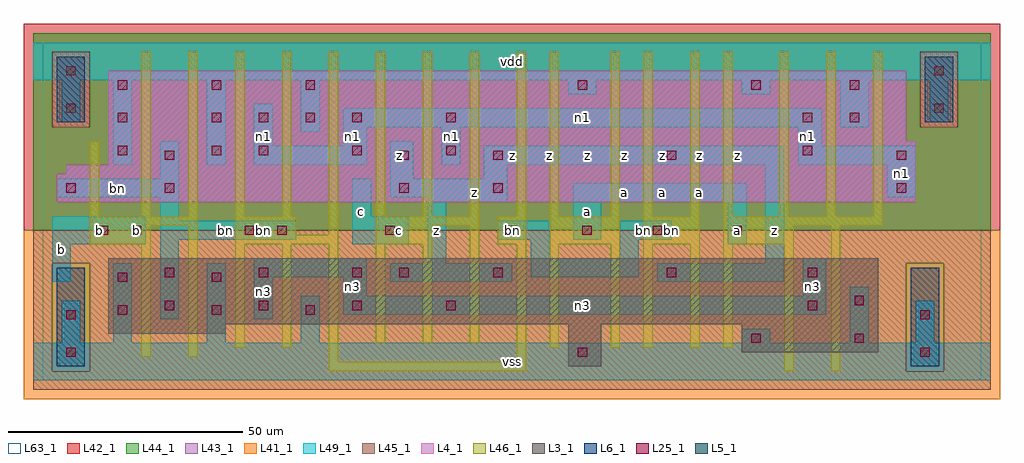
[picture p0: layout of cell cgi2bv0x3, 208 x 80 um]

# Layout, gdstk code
import gdstk
lib = gdstk.Library(unit=1e-6, precision=1e-09)
def R(c, l, rs):  # rectangles x0, y0, x1, y1
    for r in rs: c.add(gdstk.rectangle(r[:2], r[2:], *l))
def A(c, l, x, y, w, h, nx, ny, dx, dy):  # array of equal rectangles
    R(c, l, [(x+i*dx, y+j*dy, x+i*dx+w, y+j*dy+h) for i in range(nx) for j in range(ny)])
L3_1 = (3, 1)
L4_1 = (4, 1)
L5_1 = (5, 1)
L6_1 = (6, 1)
L25_1 = (25, 1)
L41_1 = (41, 1)
L42_1 = (42, 1)
L43_1 = (43, 1)
L44_1 = (44, 1)
L45_1 = (45, 1)
L46_1 = (46, 1)
L49_1 = (49, 1)
L63_1 = (63, 1)

cgi2bv0x3 = lib.new_cell('cgi2bv0x3')
R(cgi2bv0x3, L3_1, [(112,3,119,12), (149,6,178,12), (14,10,39,12), (14,12,178,26)])
R(cgi2bv0x3, L4_1, [(3,38,186,44), (5,44,186,46), (14,46,186,51), (14,51,184,66)])
R(cgi2bv0x3, L5_1, [(3,55,9,69), (188,55,194,69)])
R(cgi2bv0x3, L6_1, [(3,3,9,24), (3,3,9,24), (185,3,191,24), (185,3,191,24)])
A(cgi2bv0x3, L25_1, 16, 14, 2, 2, 3, 2, 20, 48)
A(cgi2bv0x3, L25_1, 26, 15, 2, 2, 4, 1, 20, 0)
A(cgi2bv0x3, L25_1, 26, 22, 2, 2, 3, 1, 20, 0)
A(cgi2bv0x3, L25_1, 46, 48, 2, 2, 3, 1, 20, 0)
A(cgi2bv0x3, L25_1, 36, 55, 2, 2, 4, 1, 10, 0)
R(cgi2bv0x3, L25_1, [(5,5,7,7), (114,5,116,7), (187,5,189,7), (151,8,153,10), (173,8,175,10), (5,13,7,15), (187,13,189,15), (163,15,165,17), (173,16,175,18), (16,21,18,23), (36,21,38,23), (76,22,78,24), (96,22,98,24), (133,22,135,24), (163,22,165,24), (12,31,14,33), (19,31,21,33), (43,31,45,33), (50,31,52,33), (73,31,75,33), (99,31,101,33), (115,31,117,33), (130,31,132,33), (147,31,149,33), (5,40,7,42), (26,40,28,42), (76,40,78,42), (96,40,98,42), (182,40,184,42), (26,47,28,49), (76,47,78,49), (96,47,98,49), (133,47,135,49), (182,47,184,49), (16,48,18,50), (36,48,38,50), (162,48,164,50), (16,55,18,57), (86,55,88,57), (162,55,164,57), (172,55,174,57), (5,57,7,59), (190,57,192,59), (114,62,116,64), (151,62,153,64), (172,62,174,64), (5,65,7,67), (190,65,192,67)])
R(cgi2bv0x3, L41_1, [(-4,-4,204,32)])
R(cgi2bv0x3, L42_1, [(-4,32,204,76)])
R(cgi2bv0x3, L43_1, [(3,3,9,24), (112,3,119,12), (185,3,191,24), (149,6,178,12), (14,10,39,12), (14,12,178,26), (3,38,186,44), (5,44,186,46), (14,46,186,51), (14,51,184,66), (3,55,9,69), (188,55,194,69)])
R(cgi2bv0x3, L44_1, [(2,2,10,25), (184,2,192,25), (-2,32,202,54), (-2,54,2,70), (10,54,187,70), (195,54,202,70), (-2,70,202,74)])
R(cgi2bv0x3, L45_1, [(-2,-2,202,2), (-2,2,2,25), (10,2,184,25), (192,2,202,25), (-2,25,202,32), (2,54,10,70), (187,54,195,70)])
A(cgi2bv0x3, L46_1, 21, 35, 2, 35, 4, 1, 10, 0)
A(cgi2bv0x3, L46_1, 71, 35, 2, 35, 4, 1, 10, 0)
A(cgi2bv0x3, L46_1, 157, 35, 2, 35, 3, 1, 10, 0)
R(cgi2bv0x3, L46_1, [(61,2,103,4), (158,2,160,29), (168,2,170,33), (61,4,63,29), (101,4,103,29), (21,5,23,29), (31,5,33,33), (41,7,43,29), (51,7,53,29), (108,7,110,29), (121,7,123,29), (128,7,130,29), (138,7,140,29), (145,7,147,29), (71,8,73,29), (81,8,83,29), (91,8,93,33), (10,29,23,33), (41,29,63,31), (71,29,83,33), (97,29,103,35), (108,29,123,35), (128,29,140,35), (145,29,160,33), (41,31,54,35), (61,31,63,70), (10,33,33,35), (71,33,93,35), (145,33,179,35), (10,35,12,51), (108,35,110,70), (121,35,123,70), (128,35,130,70), (138,35,140,70), (145,35,147,70)])
R(cgi2bv0x3, L49_1, [(-2,0,202,8), (4,8,8,17), (15,8,19,25), (35,8,39,25), (55,8,59,18), (149,8,155,11), (172,8,176,20), (186,8,190,17), (25,13,29,30), (45,13,49,22), (64,14,167,18), (64,18,69,22), (162,18,167,26), (2,21,6,29), (74,21,100,25), (131,21,158,25), (45,22,69,26), (104,22,127,26), (82,25,86,38), (154,25,158,46), (104,26,108,30), (123,26,127,30), (2,29,22,35), (66,29,78,35), (146,29,150,38), (25,30,54,34), (97,30,108,34), (113,30,119,38), (123,30,134,34), (25,34,29,39), (66,35,70,43), (82,38,99,39), (113,38,150,42), (3,39,29,43), (74,39,99,43), (180,39,186,46), (25,43,29,51), (74,43,79,51), (94,43,99,46), (15,46,19,64), (35,46,39,64), (45,46,69,50), (85,46,89,54), (94,46,158,50), (161,46,186,50), (45,50,49,59), (64,50,69,54), (161,50,166,54), (55,53,59,64), (64,54,166,58), (170,54,176,64), (4,55,8,64), (189,55,193,64), (112,61,118,64), (149,61,155,64), (-2,64,202,72)])
R(cgi2bv0x3, L63_1, [(0,0,200,72)])
cgi2bv0x3.add(gdstk.Label('bn', (47,32), layer=46, texttype=1))
cgi2bv0x3.add(gdstk.Label('bn', (100,32), layer=49, texttype=1))
cgi2bv0x3.add(gdstk.Label('bn', (134,32), layer=46, texttype=1))
cgi2bv0x3.add(gdstk.Label('b', (20,32), layer=49, texttype=1))
cgi2bv0x3.add(gdstk.Label('b', (12,32), layer=49, texttype=1))
cgi2bv0x3.add(gdstk.Label('b', (4,28), layer=49, texttype=1))
cgi2bv0x3.add(gdstk.Label('bn', (16,41), layer=49, texttype=1))
cgi2bv0x3.add(gdstk.Label('n3', (47,19), layer=49, texttype=1))
cgi2bv0x3.add(gdstk.Label('n3', (66,20), layer=49, texttype=1))
cgi2bv0x3.add(gdstk.Label('c', (76,32), layer=49, texttype=1))
cgi2bv0x3.add(gdstk.Label('bn', (39,32), layer=49, texttype=1))
cgi2bv0x3.add(gdstk.Label('c', (68,36), layer=49, texttype=1))
cgi2bv0x3.add(gdstk.Label('z', (76,48), layer=49, texttype=1))
cgi2bv0x3.add(gdstk.Label('n1', (66,52), layer=49, texttype=1))
cgi2bv0x3.add(gdstk.Label('n1', (47,52), layer=49, texttype=1))
cgi2bv0x3.add(gdstk.Label('vss', (100,4), layer=49, texttype=1))
cgi2bv0x3.add(gdstk.Label('z', (84,32), layer=49, texttype=1))
cgi2bv0x3.add(gdstk.Label('bn', (102,32), layer=49, texttype=1))
cgi2bv0x3.add(gdstk.Label('z', (92,40), layer=49, texttype=1))
cgi2bv0x3.add(gdstk.Label('a', (116,36), layer=49, texttype=1))
cgi2bv0x3.add(gdstk.Label('z', (108,48), layer=49, texttype=1))
cgi2bv0x3.add(gdstk.Label('z', (100,48), layer=49, texttype=1))
cgi2bv0x3.add(gdstk.Label('z', (116,48), layer=49, texttype=1))
cgi2bv0x3.add(gdstk.Label('n1', (87,52), layer=49, texttype=1))
cgi2bv0x3.add(gdstk.Label('vdd', (100,68), layer=49, texttype=1))
cgi2bv0x3.add(gdstk.Label('z', (156,32), layer=49, texttype=1))
cgi2bv0x3.add(gdstk.Label('a', (148,32), layer=49, texttype=1))
cgi2bv0x3.add(gdstk.Label('bn', (128,32), layer=49, texttype=1))
cgi2bv0x3.add(gdstk.Label('a', (124,40), layer=49, texttype=1))
cgi2bv0x3.add(gdstk.Label('a', (140,40), layer=49, texttype=1))
cgi2bv0x3.add(gdstk.Label('a', (132,40), layer=49, texttype=1))
cgi2bv0x3.add(gdstk.Label('z', (124,48), layer=49, texttype=1))
cgi2bv0x3.add(gdstk.Label('z', (132,48), layer=49, texttype=1))
cgi2bv0x3.add(gdstk.Label('z', (148,48), layer=49, texttype=1))
cgi2bv0x3.add(gdstk.Label('z', (140,48), layer=49, texttype=1))
cgi2bv0x3.add(gdstk.Label('n3', (164,20), layer=49, texttype=1))
cgi2bv0x3.add(gdstk.Label('n3', (115,16), layer=49, texttype=1))
cgi2bv0x3.add(gdstk.Label('n1', (183,44), layer=49, texttype=1))
cgi2bv0x3.add(gdstk.Label('n1', (163,52), layer=49, texttype=1))
cgi2bv0x3.add(gdstk.Label('n1', (115,56), layer=49, texttype=1))

lib.write_gds('cgi2bv0x3.gds')
